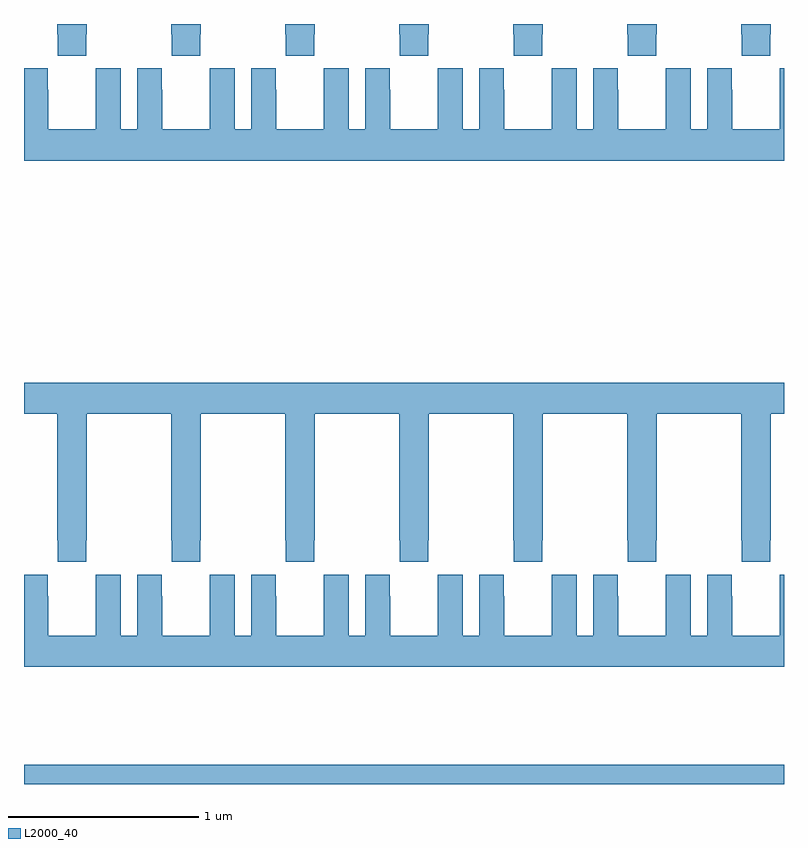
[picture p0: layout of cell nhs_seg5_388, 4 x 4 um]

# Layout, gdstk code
import gdstk
lib = gdstk.Library(unit=1e-6, precision=1e-09)
def R(c, l, rs):  # rectangles x0, y0, x1, y1
    for r in rs: c.add(gdstk.rectangle(r[:2], r[2:], *l))
def P(c, l, *ps):  # polygons
    for p in ps: c.add(gdstk.Polygon(p, *l))
L2000_40 = (2000, 40)

nhs_seg5_388 = lib.new_cell('nhs_seg5_388')
R(nhs_seg5_388, L2000_40, [(135,866.799,139,866.9)])
P(nhs_seg5_388, L2000_40, [(138.927,870.745),(138.93,870.745),(138.93,870.799),(138.775,870.799),(138.775,870.745),(138.777,870.745),(138.777,870.633),(138.927,870.633)],
  [(138.327,870.745),(138.33,870.745),(138.33,870.799),(138.175,870.799),(138.175,870.745),(138.177,870.745),(138.177,870.633),(138.327,870.633)],
  [(137.727,870.745),(137.73,870.745),(137.73,870.799),(137.575,870.799),(137.575,870.745),(137.577,870.745),(137.577,870.633),(137.727,870.633)],
  [(137.127,870.745),(137.13,870.745),(137.13,870.799),(136.975,870.799),(136.975,870.745),(136.977,870.745),(136.977,870.633),(137.127,870.633)],
  [(136.527,870.745),(136.53,870.745),(136.53,870.799),(136.375,870.799),(136.375,870.745),(136.377,870.745),(136.377,870.633),(136.527,870.633)],
  [(135.927,870.745),(135.93,870.745),(135.93,870.799),(135.775,870.799),(135.775,870.745),(135.777,870.745),(135.777,870.633),(135.927,870.633)],
  [(135.175,870.745),(135.177,870.745),(135.177,870.633),(135.327,870.633),(135.327,870.745),(135.33,870.745),(135.33,870.799),(135.175,870.799)],
  [(139,870.565),(138.978,870.565),(138.978,870.452),(138.977,870.452),(138.977,870.244),(138.727,870.244),(138.727,870.452),(138.726,870.452),(138.726,870.565),(138.596,870.565),(138.596,870.244),(138.508,870.244),(138.508,870.565),(138.378,870.565),(138.378,870.452),(138.377,870.452),(138.377,870.244),(138.127,870.244),(138.127,870.452),(138.126,870.452),(138.126,870.565),(137.996,870.565),(137.996,870.244),(137.908,870.244),(137.908,870.565),(137.778,870.565),(137.778,870.452),(137.777,870.452),(137.777,870.244),(137.527,870.244),(137.527,870.452),(137.526,870.452),(137.526,870.565),(137.396,870.565),(137.396,870.244),(137.308,870.244),(137.308,870.565),(137.178,870.565),(137.178,870.452),(137.177,870.452),(137.177,870.244),(136.927,870.244),(136.927,870.452),(136.926,870.452),(136.926,870.565),(136.796,870.565),(136.796,870.244),(136.708,870.244),(136.708,870.565),(136.578,870.565),(136.578,870.452),(136.577,870.452),(136.577,870.244),(136.327,870.244),(136.327,870.452),(136.326,870.452),(136.326,870.565),(136.196,870.565),(136.196,870.244),(136.108,870.244),(136.108,870.565),(135.978,870.565),(135.978,870.452),(135.977,870.452),(135.977,870.244),(135.727,870.244),(135.727,870.452),(135.726,870.452),(135.726,870.565),(135.596,870.565),(135.596,870.244),(135.508,870.244),(135.508,870.565),(135.378,870.565),(135.378,870.452),(135.377,870.452),(135.377,870.244),(135.127,870.244),(135.127,870.452),(135.126,870.452),(135.126,870.565),(135,870.565),(135,870.08),(139,870.08)],
  [(135.327,868.081),(135.33,868.081),(135.33,868.748),(135.775,868.748),(135.775,868.081),(135.777,868.081),(135.777,867.969),(135.927,867.969),(135.927,868.081),(135.93,868.081),(135.93,868.748),(136.375,868.748),(136.375,868.081),(136.377,868.081),(136.377,867.969),(136.527,867.969),(136.527,868.081),(136.53,868.081),(136.53,868.748),(136.975,868.748),(136.975,868.081),(136.977,868.081),(136.977,867.969),(137.127,867.969),(137.127,868.081),(137.13,868.081),(137.13,868.748),(137.575,868.748),(137.575,868.081),(137.577,868.081),(137.577,867.969),(137.727,867.969),(137.727,868.081),(137.73,868.081),(137.73,868.748),(138.175,868.748),(138.175,868.081),(138.177,868.081),(138.177,867.969),(138.327,867.969),(138.327,868.081),(138.33,868.081),(138.33,868.748),(138.775,868.748),(138.775,868.081),(138.777,868.081),(138.777,867.969),(138.927,867.969),(138.927,868.081),(138.93,868.081),(138.93,868.748),(139,868.748),(139,868.912),(135,868.912),(135,868.748),(135.175,868.748),(135.175,868.081),(135.177,868.081),(135.177,867.969),(135.327,867.969)],
  [(139,867.901),(138.978,867.901),(138.978,867.788),(138.977,867.788),(138.977,867.58),(138.727,867.58),(138.727,867.788),(138.726,867.788),(138.726,867.901),(138.596,867.901),(138.596,867.58),(138.508,867.58),(138.508,867.901),(138.378,867.901),(138.378,867.788),(138.377,867.788),(138.377,867.58),(138.127,867.58),(138.127,867.788),(138.126,867.788),(138.126,867.901),(137.996,867.901),(137.996,867.58),(137.908,867.58),(137.908,867.901),(137.778,867.901),(137.778,867.788),(137.777,867.788),(137.777,867.58),(137.527,867.58),(137.527,867.788),(137.526,867.788),(137.526,867.901),(137.396,867.901),(137.396,867.58),(137.308,867.58),(137.308,867.901),(137.178,867.901),(137.178,867.788),(137.177,867.788),(137.177,867.58),(136.927,867.58),(136.927,867.788),(136.926,867.788),(136.926,867.901),(136.796,867.901),(136.796,867.58),(136.708,867.58),(136.708,867.901),(136.578,867.901),(136.578,867.788),(136.577,867.788),(136.577,867.58),(136.327,867.58),(136.327,867.788),(136.326,867.788),(136.326,867.901),(136.196,867.901),(136.196,867.58),(136.108,867.58),(136.108,867.901),(135.978,867.901),(135.978,867.788),(135.977,867.788),(135.977,867.58),(135.727,867.58),(135.727,867.788),(135.726,867.788),(135.726,867.901),(135.596,867.901),(135.596,867.58),(135.508,867.58),(135.508,867.901),(135.378,867.901),(135.378,867.788),(135.377,867.788),(135.377,867.58),(135.127,867.58),(135.127,867.788),(135.126,867.788),(135.126,867.901),(135,867.901),(135,867.416),(139,867.416)])

lib.write_gds('nhs_seg5_388.gds')
